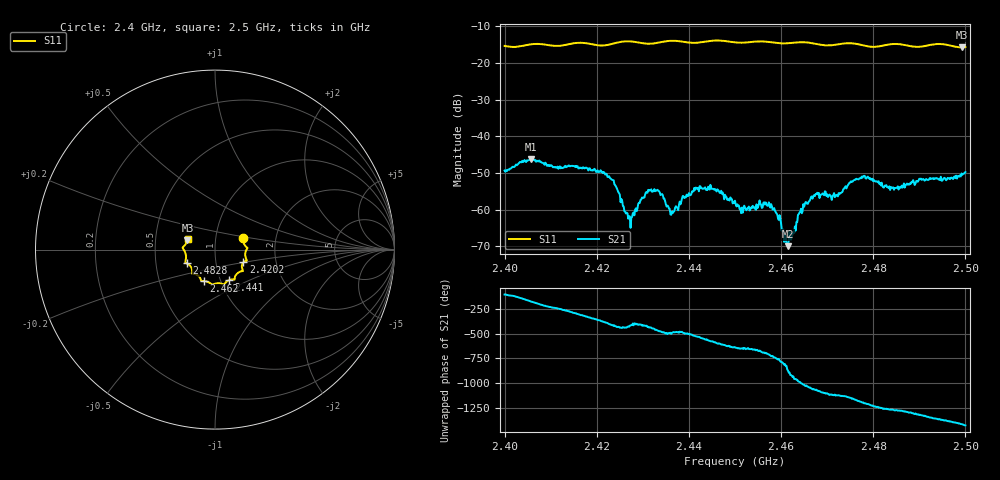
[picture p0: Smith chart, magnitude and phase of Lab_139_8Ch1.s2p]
# Hz S RI R 50
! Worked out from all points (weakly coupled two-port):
!   601 points, 2.4 GHz to 2.5 GHz, reference 50 ohm
!   highest |S21| = -46.29 dB at 2.4057 GHz (marker M1); lowest = -69.9 dB at 2.4615 GHz (marker M2)
!   lowest |S11| = -15.8 dB at 2.4993 GHz (marker M3), VSWR 1.39, Z = 36.5 + j3.87 ohm
!   |S11| at or under -10 dB: start of sweep to end of sweep
!   S12 and S22 are empty: the file has one direction only
!   S11 on the Smith chart (normalised r, x): 2.4 GHz: 1.36, +0.17; 2.4202 GHz: 1.36, -0.20; 2.441 GHz: 1.10, -0.39; 2.462 GHz: 0.84, -0.30; 2.4828 GHz: 0.72, -0.11; 2.5 GHz: 0.73, +0.09
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2.4e9  0.1581 0.0623  -0.000877 -0.0033  0 0  0 0
2.405667e9  0.178 0.012  -0.00483 -0.000457  0 0  0 0
2.416667e9  0.1773 -0.0608  0.0025 0.00275  0 0  0 0
2.420167e9  0.1582 -0.0712  0.00343 -7.42e-05  0 0  0 0
2.4235e9  0.1504 -0.1028  0.00149 -0.00204  0 0  0 0
2.427167e9  0.1556 -0.1191  0.00041 -0.000695  0 0  0 0
2.431e9  0.1267 -0.1306  0.000496 -0.00162  0 0  0 0
2.433333e9  0.1116 -0.1511  -0.00063 -0.00171  0 0  0 0
2.436333e9  0.1089 -0.1673  -0.000626 -0.000706  0 0  0 0
2.441e9  0.0783 -0.1699  -0.00166 -0.000616  0 0  0 0
2.445167e9  0.0519 -0.1935  -0.00152 0.00117  0 0  0 0
2.45e9  0.0281 -0.1878  0.000201 0.00131  0 0  0 0
2.4575e9  -0.0228 -0.1905  0.00117 0.000143  0 0  0 0
2.4615e9  -0.0562 -0.1759  -0.000286 -0.000139  0 0  0 0
2.462e9  -0.0606 -0.1756  -0.000434 0.000137  0 0  0 0
2.466667e9  -0.0789 -0.1681  0.00138 0.000622  0 0  0 0
2.472167e9  -0.1149 -0.1354  0.00112 -0.00108  0 0  0 0
2.477667e9  -0.1271 -0.1185  -0.00117 -0.00246  0 0  0 0
2.482833e9  -0.1575 -0.0767  -0.00216 -7.42e-05  0 0  0 0
2.483333e9  -0.1606 -0.0752  -0.00196 0.000157  0 0  0 0
2.499333e9  -0.1538 0.0516  0.00273 0.00121  0 0  0 0
2.5e9  -0.1521 0.061  0.00317 0.00072  0 0  0 0
